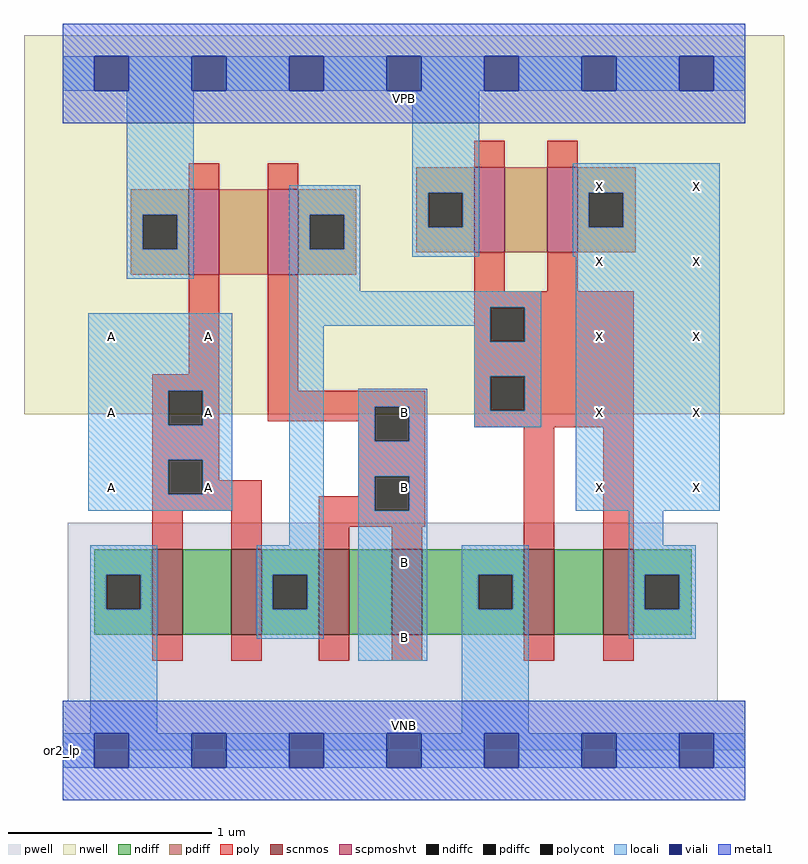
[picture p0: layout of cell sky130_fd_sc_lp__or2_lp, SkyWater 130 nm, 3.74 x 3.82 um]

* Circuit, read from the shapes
.subckt sky130_fd_sc_lp__or2_lp A B VGND VNB VPB VPWR X
XM1 n1 A VGND VNB sky130_fd_pr__nfet_01v8 w=0.42 l=0.15
XM2 n2 A n1 VNB sky130_fd_pr__nfet_01v8 w=0.42 l=0.15
XM3 n3 B n2 VNB sky130_fd_pr__nfet_01v8 w=0.42 l=0.15
XM4 VGND B n3 VNB sky130_fd_pr__nfet_01v8 w=0.42 l=0.15
XM5 n4 n2 VGND VNB sky130_fd_pr__nfet_01v8 w=0.42 l=0.15
XM6 X n2 n4 VNB sky130_fd_pr__nfet_01v8 w=0.42 l=0.15
XM7 n5 A VPWR VPB sky130_fd_pr__pfet_01v8_hvt w=0.42 l=0.15
XM8 n2 B n5 VPB sky130_fd_pr__pfet_01v8_hvt w=0.42 l=0.15
XM9 n6 n2 VPWR VPB sky130_fd_pr__pfet_01v8_hvt w=0.42 l=0.15
XM10 X n2 n6 VPB sky130_fd_pr__pfet_01v8_hvt w=0.42 l=0.15
.ends

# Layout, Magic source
magic
tech sky130A
magscale 1 2
<< nwell >>
rect -38 331 710 704
<< pwell >>
rect 5 49 645 224
rect 0 0 672 49
<< scnmos >>
rect 88 114 118 198
rect 166 114 196 198
rect 252 114 282 198
rect 324 114 354 198
rect 454 114 484 198
rect 532 114 562 198
<< scpmoshvt >>
rect 124 468 154 552
rect 202 468 232 552
rect 405 490 435 574
rect 477 490 507 574
<< ndiff >>
rect 31 173 88 198
rect 31 139 43 173
rect 77 139 88 173
rect 31 114 88 139
rect 118 114 166 198
rect 196 173 252 198
rect 196 139 207 173
rect 241 139 252 173
rect 196 114 252 139
rect 282 114 324 198
rect 354 173 454 198
rect 354 139 409 173
rect 443 139 454 173
rect 354 114 454 139
rect 484 114 532 198
rect 562 173 619 198
rect 562 139 573 173
rect 607 139 619 173
rect 562 114 619 139
<< pdiff >>
rect 67 527 124 552
rect 67 493 79 527
rect 113 493 124 527
rect 67 468 124 493
rect 154 468 202 552
rect 232 527 289 552
rect 232 493 243 527
rect 277 493 289 527
rect 232 468 289 493
rect 348 549 405 574
rect 348 515 360 549
rect 394 515 405 549
rect 348 490 405 515
rect 435 490 477 574
rect 507 549 564 574
rect 507 515 518 549
rect 552 515 564 549
rect 507 490 564 515
<< ndiffc >>
rect 43 139 77 173
rect 207 139 241 173
rect 409 139 443 173
rect 573 139 607 173
<< pdiffc >>
rect 79 493 113 527
rect 243 493 277 527
rect 360 515 394 549
rect 518 515 552 549
<< poly >>
rect 124 552 154 578
rect 202 552 232 578
rect 405 574 435 600
rect 477 574 507 600
rect 124 370 154 468
rect 88 354 154 370
rect 88 320 104 354
rect 138 320 154 354
rect 202 354 232 468
rect 405 452 435 490
rect 477 452 507 490
rect 405 436 562 452
rect 405 402 421 436
rect 455 402 562 436
rect 405 368 562 402
rect 202 338 357 354
rect 202 324 307 338
rect 88 286 154 320
rect 88 252 104 286
rect 138 266 154 286
rect 291 304 307 324
rect 341 304 357 338
rect 405 334 421 368
rect 455 334 562 368
rect 405 318 562 334
rect 291 270 357 304
rect 138 252 196 266
rect 88 236 196 252
rect 291 250 307 270
rect 88 198 118 236
rect 166 198 196 236
rect 252 236 307 250
rect 341 236 357 270
rect 252 220 357 236
rect 252 198 282 220
rect 324 198 354 220
rect 454 198 484 318
rect 532 198 562 318
rect 88 88 118 114
rect 166 88 196 114
rect 252 88 282 114
rect 324 88 354 114
rect 454 88 484 114
rect 532 88 562 114
<< polycont >>
rect 104 320 138 354
rect 421 402 455 436
rect 104 252 138 286
rect 307 304 341 338
rect 421 334 455 368
rect 307 236 341 270
<< locali >>
rect 0 649 31 683
rect 65 649 127 683
rect 161 649 223 683
rect 257 649 319 683
rect 353 649 415 683
rect 449 649 511 683
rect 545 649 607 683
rect 641 649 672 683
rect 63 527 129 649
rect 63 493 79 527
rect 113 493 129 527
rect 63 464 129 493
rect 223 527 293 556
rect 223 493 243 527
rect 277 493 293 527
rect 223 452 293 493
rect 344 549 410 649
rect 344 515 360 549
rect 394 515 410 549
rect 344 486 410 515
rect 502 549 647 578
rect 502 515 518 549
rect 552 515 647 549
rect 502 486 647 515
rect 223 436 471 452
rect 25 354 167 430
rect 25 320 104 354
rect 138 320 167 354
rect 25 286 167 320
rect 25 252 104 286
rect 138 252 167 286
rect 25 236 167 252
rect 223 418 421 436
rect 223 202 257 418
rect 405 402 421 418
rect 455 402 471 436
rect 405 368 471 402
rect 27 173 93 202
rect 27 139 43 173
rect 77 139 93 173
rect 27 17 93 139
rect 191 173 257 202
rect 191 139 207 173
rect 241 139 257 173
rect 191 110 257 139
rect 291 338 359 356
rect 291 304 307 338
rect 341 304 359 338
rect 405 334 421 368
rect 455 334 471 368
rect 405 318 471 334
rect 291 270 359 304
rect 291 236 307 270
rect 341 236 359 270
rect 505 236 647 486
rect 291 88 359 236
rect 557 202 591 236
rect 393 173 459 202
rect 393 139 409 173
rect 443 139 459 173
rect 393 17 459 139
rect 557 173 623 202
rect 557 139 573 173
rect 607 139 623 173
rect 557 110 623 139
rect 0 -17 31 17
rect 65 -17 127 17
rect 161 -17 223 17
rect 257 -17 319 17
rect 353 -17 415 17
rect 449 -17 511 17
rect 545 -17 607 17
rect 641 -17 672 17
<< viali >>
rect 31 649 65 683
rect 127 649 161 683
rect 223 649 257 683
rect 319 649 353 683
rect 415 649 449 683
rect 511 649 545 683
rect 607 649 641 683
rect 31 -17 65 17
rect 127 -17 161 17
rect 223 -17 257 17
rect 319 -17 353 17
rect 415 -17 449 17
rect 511 -17 545 17
rect 607 -17 641 17
<< metal1 >>
rect 0 683 672 715
rect 0 649 31 683
rect 65 649 127 683
rect 161 649 223 683
rect 257 649 319 683
rect 353 649 415 683
rect 449 649 511 683
rect 545 649 607 683
rect 641 649 672 683
rect 0 617 672 649
rect 0 17 672 49
rect 0 -17 31 17
rect 65 -17 127 17
rect 161 -17 223 17
rect 257 -17 319 17
rect 353 -17 415 17
rect 449 -17 511 17
rect 545 -17 607 17
rect 641 -17 672 17
rect 0 -49 672 -17
<< labels >>
flabel pwell s 0 0 672 49 0 FreeSans 200 0 0 0 VNB
port 4 nsew ground bidirectional
flabel nwell s 0 617 672 666 0 FreeSans 200 0 0 0 VPB
port 5 nsew power bidirectional
rlabel comment s 0 0 0 0 4 or2_lp
flabel metal1 s 0 617 672 666 0 FreeSans 340 0 0 0 VPWR
port 6 nsew power bidirectional
flabel metal1 s 0 0 672 49 0 FreeSans 340 0 0 0 VGND
port 3 nsew ground bidirectional
flabel locali s 319 94 353 128 0 FreeSans 340 0 0 0 B
port 2 nsew signal input
flabel locali s 319 168 353 202 0 FreeSans 340 0 0 0 B
port 2 nsew signal input
flabel locali s 319 242 353 276 0 FreeSans 340 0 0 0 B
port 2 nsew signal input
flabel locali s 319 316 353 350 0 FreeSans 340 0 0 0 B
port 2 nsew signal input
flabel locali s 31 242 65 276 0 FreeSans 340 0 0 0 A
port 1 nsew signal input
flabel locali s 31 316 65 350 0 FreeSans 340 0 0 0 A
port 1 nsew signal input
flabel locali s 31 390 65 424 0 FreeSans 340 0 0 0 A
port 1 nsew signal input
flabel locali s 127 242 161 276 0 FreeSans 340 0 0 0 A
port 1 nsew signal input
flabel locali s 127 316 161 350 0 FreeSans 340 0 0 0 A
port 1 nsew signal input
flabel locali s 127 390 161 424 0 FreeSans 340 0 0 0 A
port 1 nsew signal input
flabel locali s 511 242 545 276 0 FreeSans 340 0 0 0 X
port 7 nsew signal output
flabel locali s 511 316 545 350 0 FreeSans 340 0 0 0 X
port 7 nsew signal output
flabel locali s 511 390 545 424 0 FreeSans 340 0 0 0 X
port 7 nsew signal output
flabel locali s 511 464 545 498 0 FreeSans 340 0 0 0 X
port 7 nsew signal output
flabel locali s 511 538 545 572 0 FreeSans 340 0 0 0 X
port 7 nsew signal output
flabel locali s 607 242 641 276 0 FreeSans 340 0 0 0 X
port 7 nsew signal output
flabel locali s 607 316 641 350 0 FreeSans 340 0 0 0 X
port 7 nsew signal output
flabel locali s 607 390 641 424 0 FreeSans 340 0 0 0 X
port 7 nsew signal output
flabel locali s 607 464 641 498 0 FreeSans 340 0 0 0 X
port 7 nsew signal output
flabel locali s 607 538 641 572 0 FreeSans 340 0 0 0 X
port 7 nsew signal output
<< properties >>
string LEFsite unit
string LEFclass CORE
string FIXED_BBOX 0 0 672 666
string GDS_FILE $PDKPATH/libs.ref/sky130_fd_sc_lp/gds/sky130_fd_sc_lp.gds
string LEFsymmetry X Y R90
string GDS_END 6090672
string GDS_START 6083676
<< end >>
